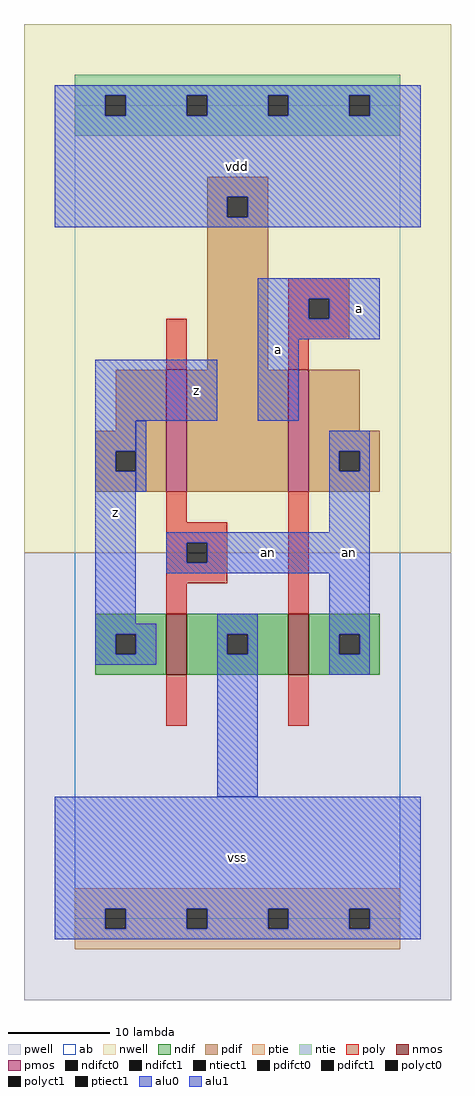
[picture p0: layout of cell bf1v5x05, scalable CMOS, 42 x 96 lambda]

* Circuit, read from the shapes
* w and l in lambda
.subckt bf1v5x05 a an vdd vss z
M1 vss an z vss nfet w=6 l=2
M2 an a vss vss nfet w=6 l=2
M3 vdd an z vdd pfet w=12 l=2
M4 an a vdd vdd pfet w=12 l=2
.ends

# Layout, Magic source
magic
tech scmos
<< ab >>
rect 0 0 32 80
<< nwell >>
rect -5 36 37 88
<< pwell >>
rect -5 -8 37 36
<< poly >>
rect 9 54 11 59
rect 21 61 27 63
rect 21 59 23 61
rect 25 59 27 61
rect 21 57 27 59
rect 21 54 23 57
rect 9 39 11 42
rect 9 37 15 39
rect 9 35 11 37
rect 13 35 15 37
rect 9 33 15 35
rect 9 30 11 33
rect 21 30 23 42
rect 9 19 11 24
rect 21 19 23 24
<< ndif >>
rect 2 28 9 30
rect 2 26 4 28
rect 6 26 9 28
rect 2 24 9 26
rect 11 28 21 30
rect 11 26 15 28
rect 17 26 21 28
rect 11 24 21 26
rect 23 28 30 30
rect 23 26 26 28
rect 28 26 30 28
rect 23 24 30 26
<< pdif >>
rect 13 71 19 73
rect 13 69 15 71
rect 17 69 19 71
rect 13 54 19 69
rect 4 48 9 54
rect 2 46 9 48
rect 2 44 4 46
rect 6 44 9 46
rect 2 42 9 44
rect 11 42 21 54
rect 23 48 28 54
rect 23 46 30 48
rect 23 44 26 46
rect 28 44 30 46
rect 23 42 30 44
<< alu1 >>
rect -2 81 34 82
rect -2 79 3 81
rect 5 79 11 81
rect 13 79 19 81
rect 21 79 27 81
rect 29 79 34 81
rect -2 71 34 79
rect -2 69 15 71
rect 17 69 34 71
rect -2 68 34 69
rect 18 61 30 63
rect 18 59 23 61
rect 25 59 30 61
rect 18 57 30 59
rect 2 49 14 55
rect 18 49 22 57
rect 2 46 6 49
rect 2 44 4 46
rect 2 29 6 44
rect 2 28 8 29
rect 2 26 4 28
rect 6 26 8 28
rect 2 25 8 26
rect -2 1 34 12
rect -2 -1 3 1
rect 5 -1 11 1
rect 13 -1 19 1
rect 21 -1 27 1
rect 29 -1 34 1
rect -2 -2 34 -1
<< ptie >>
rect 0 1 32 3
rect 0 -1 3 1
rect 5 -1 11 1
rect 13 -1 19 1
rect 21 -1 27 1
rect 29 -1 32 1
rect 0 -3 32 -1
<< ntie >>
rect 0 81 32 83
rect 0 79 3 81
rect 5 79 11 81
rect 13 79 19 81
rect 21 79 27 81
rect 29 79 32 81
rect 0 77 32 79
<< nmos >>
rect 9 24 11 30
rect 21 24 23 30
<< pmos >>
rect 9 42 11 54
rect 21 42 23 54
<< polyct0 >>
rect 11 35 13 37
<< polyct1 >>
rect 23 59 25 61
<< ndifct0 >>
rect 15 26 17 28
rect 26 26 28 28
<< ndifct1 >>
rect 4 26 6 28
<< ntiect1 >>
rect 3 79 5 81
rect 11 79 13 81
rect 19 79 21 81
rect 27 79 29 81
<< ptiect1 >>
rect 3 -1 5 1
rect 11 -1 13 1
rect 19 -1 21 1
rect 27 -1 29 1
<< pdifct0 >>
rect 26 44 28 46
<< pdifct1 >>
rect 15 69 17 71
rect 4 44 6 46
<< alu0 >>
rect 6 42 7 49
rect 25 46 29 48
rect 25 44 26 46
rect 28 44 29 46
rect 25 38 29 44
rect 9 37 29 38
rect 9 35 11 37
rect 13 35 29 37
rect 9 34 29 35
rect 14 28 18 30
rect 14 26 15 28
rect 17 26 18 28
rect 14 12 18 26
rect 25 28 29 34
rect 25 26 26 28
rect 28 26 29 28
rect 25 24 29 26
<< labels >>
rlabel alu0 27 36 27 36 6 an
rlabel alu0 19 36 19 36 6 an
rlabel alu1 4 40 4 40 6 z
rlabel alu1 16 6 16 6 6 vss
rlabel alu1 12 52 12 52 6 z
rlabel alu1 16 74 16 74 6 vdd
rlabel alu1 20 56 20 56 6 a
rlabel alu1 28 60 28 60 6 a
<< end >>
